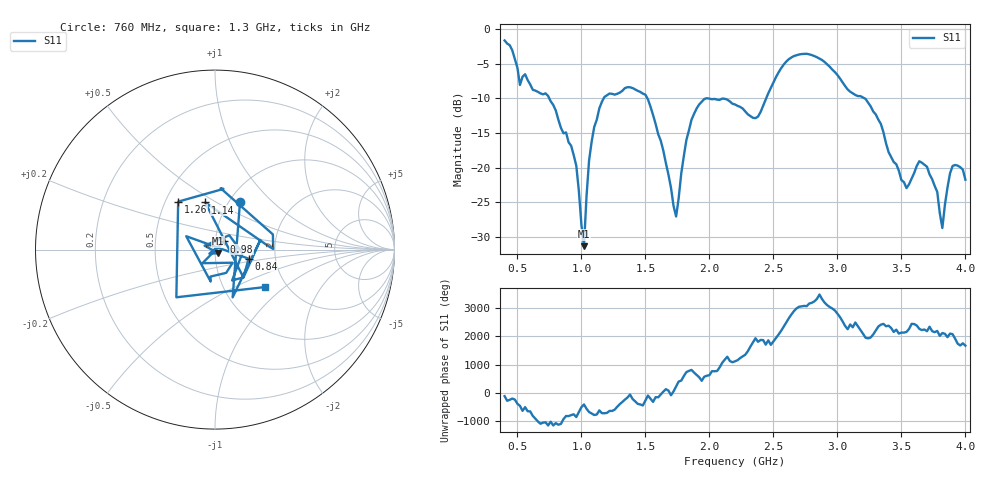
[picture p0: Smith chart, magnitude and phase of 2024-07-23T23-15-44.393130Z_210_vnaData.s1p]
!Created with skrf (http://scikit-rf.org).
# Hz S RI R 50.0
!freq ReS11 ImS11
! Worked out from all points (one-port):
!   181 points, 400 MHz to 4 GHz, reference 50 ohm
!   lowest |S11| = -31.4 dB at 1.02 GHz (marker M1), VSWR 1.06, Z = 51.8 - j2.11 ohm
!   |S11| at or under -10 dB: 1.516 GHz to 1.974 GHz (457.5 MHz wide, 26.2 % of centre); 1.991 GHz to 2.443 GHz (452.3 MHz wide, 20.4 % of centre); 3.214 GHz to end of sweep (the widest 3 of 4)
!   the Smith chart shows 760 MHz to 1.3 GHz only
!   S11 on the Smith chart (normalised r, x): 760 MHz: 1.12, +0.66; 840 MHz: 1.45, -0.15; 980 MHz: 1.10, +0.10; 1.14 GHz: 0.79, +0.44; 1.26 GHz: 0.58, +0.35; 1.3 GHz: 1.56, -0.74
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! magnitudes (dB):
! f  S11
! 400 MHz  -1.6
! 520 MHz  -8.0
! 760 MHz  -10.4
! 840 MHz  -14.3
! 860 MHz  -15.0
! 940 MHz  -18.2
! 980 MHz  -23.4
! 1.02 GHz  -31.4
! 1.06 GHz  -19.0
! 1.14 GHz  -11.4
! 1.26 GHz  -9.4
! 1.3 GHz  -9.2
! 1.5 GHz  -9.5
! 1.74 GHz  -27.1
! 1.76 GHz  -24.4
! 1.82 GHz  -16.0
! 1.9 GHz  -11.5
! 2.2 GHz  -10.9
! 2.38 GHz  -12.6
! 2.66 GHz  -3.9
! 3.1 GHz  -9.0
! 3.26 GHz  -11.1
! 3.56 GHz  -22.4
! 3.7 GHz  -19.9
! 3.78 GHz  -23.5
! 3.82 GHz  -28.8
! 3.9 GHz  -19.8
! 4 GHz  -21.8
